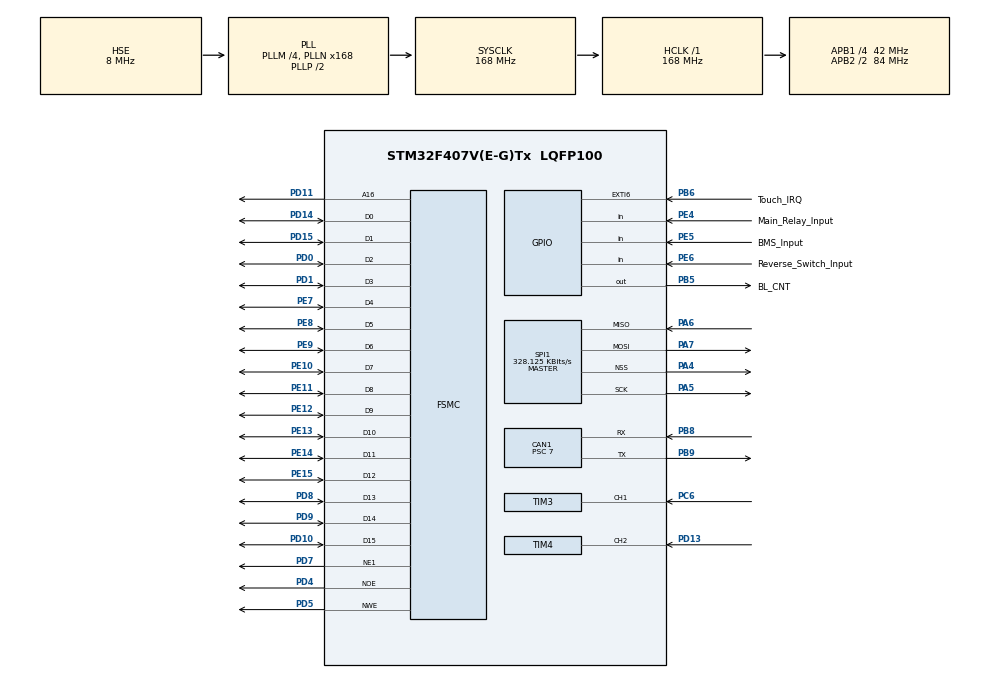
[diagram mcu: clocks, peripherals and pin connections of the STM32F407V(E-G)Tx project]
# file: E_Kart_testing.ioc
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CAN1.ABOM=ENABLE
CAN1.AWUM=ENABLE
CAN1.BS1=CAN_BS1_8TQ
CAN1.BS2=CAN_BS2_3TQ
CAN1.CalculateBaudRate=500000
CAN1.CalculateTimeBit=1999.99
CAN1.CalculateTimeQuantum=166.66666666666669
CAN1.NART=ENABLE
CAN1.Prescaler=7
FSMC.AddressSetupTime1=2
FSMC.BusTurnAroundDuration1=0
FSMC.DataSetupTime1=5
FSMC.ExtendedAddressSetupTime1=2
FSMC.ExtendedBusTurnAroundDuration1=3
FSMC.ExtendedDataSetupTime1=3
FSMC.ExtendedMode1=FSMC_EXTENDED_MODE_ENABLE
FSMC.MemoryType1=FSMC_MEMORY_TYPE_SRAM
Mcu.Family=STM32F4
Mcu.Name=STM32F407V(E-G)Tx
Mcu.Package=LQFP100
NVIC.CAN1_RX0_IRQn=true\:0\:0\:false\:false\:true\:true\:true
NVIC.EXTI9_5_IRQn=true\:0\:0\:false\:false\:true\:true\:true
NVIC.PriorityGroup=NVIC_PRIORITYGROUP_4
NVIC.SPI1_IRQn=true\:0\:0\:false\:false\:true\:true\:true
NVIC.TIM1_BRK_TIM9_IRQn=true\:0\:0\:false\:false\:true\:true\:true
NVIC.TIM1_UP_TIM10_IRQn=true\:0\:0\:false\:false\:true\:true\:true
NVIC.TIM2_IRQn=true\:0\:0\:false\:false\:true\:true\:true
NVIC.TIM3_IRQn=true\:0\:0\:false\:false\:true\:true\:true
NVIC.TIM4_IRQn=true\:0\:0\:false\:false\:true\:true\:true
PA13.Mode=Serial_Wire
PA13.Signal=SYS_JTMS-SWDIO
PA14.Mode=Serial_Wire
PA14.Signal=SYS_JTCK-SWCLK
PA4.Mode=NSS_Signal_Hard_Output
PA4.Signal=SPI1_NSS
PA5.Mode=Full_Duplex_Master
PA5.Signal=SPI1_SCK
PA6.Mode=Full_Duplex_Master
PA6.Signal=SPI1_MISO
PA7.Mode=Full_Duplex_Master
PA7.Signal=SPI1_MOSI
PB5.GPIO_Label=BL_CNT
PB5.Signal=GPIO_Output
PB6.GPIO_Label=Touch_IRQ
PB6.GPIO_ModeDefaultEXTI=GPIO_MODE_IT_FALLING
PB6.GPIO_PuPd=GPIO_PULLUP
PB6.Signal=GPXTI6
PB8.Mode=CAN_Activate
PB8.Signal=CAN1_RX
PB9.Mode=CAN_Activate
PB9.Signal=CAN1_TX
PC6.Signal=S_TIM3_CH1
PD0.Mode=16b-d1
PD0.Signal=FSMC_D2
PD1.Mode=16b-d1
PD1.Signal=FSMC_D3
PD10.Mode=16b-d1
PD10.Signal=FSMC_D15
PD11.Mode=A16_1
PD11.Signal=FSMC_A16
PD13.Signal=S_TIM4_CH2
PD14.Mode=16b-d1
PD14.Signal=FSMC_D0
PD15.Mode=16b-d1
PD15.Signal=FSMC_D1
PD4.Mode=Lcd1
PD4.Signal=FSMC_NOE
PD5.Mode=Lcd1
PD5.Signal=FSMC_NWE
PD7.Mode=NorPsramChipSelect1_1
PD7.Signal=FSMC_NE1
PD8.Mode=16b-d1
PD8.Signal=FSMC_D13
PD9.Mode=16b-d1
PD9.Signal=FSMC_D14
PE10.Mode=16b-d1
PE10.Signal=FSMC_D7
PE11.Mode=16b-d1
PE11.Signal=FSMC_D8
PE12.Mode=16b-d1
PE12.Signal=FSMC_D9
PE13.Mode=16b-d1
PE13.Signal=FSMC_D10
PE14.Mode=16b-d1
PE14.Signal=FSMC_D11
PE15.Mode=16b-d1
PE15.Signal=FSMC_D12
PE4.GPIO_Label=Main_Relay_Input
PE4.Signal=GPIO_Input
PE5.GPIO_Label=BMS_Input
PE5.Signal=GPIO_Input
PE6.GPIO_Label=Reverse_Switch_Input
PE6.Signal=GPIO_Input
PE7.Mode=16b-d1
PE7.Signal=FSMC_D4
PE8.Mode=16b-d1
PE8.Signal=FSMC_D5
PE9.Mode=16b-d1
PE9.Signal=FSMC_D6
PH0-OSC_IN.Mode=HSE-External-Oscillator
PH0-OSC_IN.Signal=RCC_OSC_IN
PH1-OSC_OUT.Mode=HSE-External-Oscillator
PH1-OSC_OUT.Signal=RCC_OSC_OUT
ProjectManager.HeapSize=0x200
ProjectManager.StackSize=0x400
ProjectManager.TargetToolchain=STM32CubeIDE
RCC.48MHZClocksFreq_Value=48000000
RCC.AHBFreq_Value=168000000
RCC.APB1CLKDivider=RCC_HCLK_DIV4
RCC.APB1Freq_Value=42000000
RCC.APB1TimFreq_Value=84000000
RCC.APB2CLKDivider=RCC_HCLK_DIV2
RCC.APB2Freq_Value=84000000
RCC.APB2TimFreq_Value=168000000
RCC.CortexFreq_Value=168000000
RCC.HCLKFreq_Value=168000000
RCC.HSE_VALUE=8000000
RCC.HSI_VALUE=16000000
RCC.LSE_VALUE=32768
RCC.PLLM=4
RCC.PLLN=168
RCC.PLLQ=7
RCC.PLLSourceVirtual=RCC_PLLSOURCE_HSE
RCC.SYSCLKFreq_VALUE=168000000
RCC.SYSCLKSource=RCC_SYSCLKSOURCE_PLLCLK
RCC.VCOOutputFreq_Value=336000000
SH.S_TIM3_CH1.0=TIM3_CH1,PWM_Input_1
SH.S_TIM4_CH2.0=TIM4_CH2,PWM_Input_2
SPI1.BaudRatePrescaler=SPI_BAUDRATEPRESCALER_256
SPI1.CalculateBaudRate=328.125 KBits/s
SPI1.Direction=SPI_DIRECTION_2LINES
SPI1.Mode=SPI_MODE_MASTER
SPI1.VirtualNSS=VM_NSSHARD
SPI1.VirtualType=VM_MASTER
TIM1.Channel-Output\ Compare1\ No\ Output=TIM_CHANNEL_1
TIM2.CounterMode=TIM_COUNTERMODE_DOWN
TIM2.Period=39999
TIM2.Prescaler=1
TIM3.Period=0xffff
TIM3.Prescaler=1
TIM4.ICPolarity_1=TIM_INPUTCHANNELPOLARITY_RISING
TIM4.Period=0xffff
TIM4.Prescaler=1
VP_TIM1_VS_ClockSourceINT.Mode=Internal
VP_TIM1_VS_no_output1.Mode=Output Compare1 No Output
VP_TIM2_VS_ClockSourceINT.Mode=Internal
VP_TIM3_VS_ClockSourceINT.Mode=Internal
VP_TIM4_VS_ClockSourceINT.Mode=Internal
board=E-Kart

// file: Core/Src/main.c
/* USER CODE BEGIN Header */
/**
  ******************************************************************************
  * @file           : main.c
  * @brief          : Main program body
  ******************************************************************************
  * @attention
  *
  * <h2><center>&copy; Copyright (c) 2019 STMicroelectronics.
  * All rights reserved.</center></h2>
  *
  * This software component is licensed by ST under BSD 3-Clause license,
  * the "License"; You may not use this file except in compliance with the
  * License. You may obtain a copy of the License at:
  *                        opensource.org/licenses/BSD-3-Clause
  *
  ******************************************************************************
  */
/* USER CODE END Header */
#include "main.h"
#include "can.h"
#include "spi.h"
#include "tim.h"
#include "gpio.h"
#include "fsmc.h"

/* USER CODE BEGIN Includes */

#include "hmi.h"
#include "control.h"
#include "flash.h"

/* USER CODE END Includes */

/* USER CODE BEGIN PTD */

CAN_FilterTypeDef		sFilterConfig;

/* USER CODE END PTD */

/* USER CODE BEGIN PV */

uint8_t menuebene=1;

/* USER CODE END PV */

void SystemClock_Config(void);

int main(void)
{

  /* MCU Configuration--------------------------------------------------------*/

  /* Reset of all peripherals, Initializes the Flash interface and the Systick. */
  HAL_Init();

  /* Configure the system clock */
  SystemClock_Config();

  /* Initialize all configured peripherals */
  MX_GPIO_Init();
  MX_TIM1_Init();
  MX_TIM2_Init();
  MX_TIM4_Init();
  MX_CAN1_Init();
  MX_SPI1_Init();
  MX_FSMC_Init();
  MX_TIM3_Init();
  /* USER CODE BEGIN 2 */

//  flash_init();
//  TransferListElements(1);
  LoadfromFlash();

  sFilterConfig.FilterBank = 0;
  sFilterConfig.FilterMode = CAN_FILTERMODE_IDMASK;
  sFilterConfig.FilterScale = CAN_FILTERSCALE_32BIT;
  sFilterConfig.FilterIdHigh = 0xFFFF;
  sFilterConfig.FilterIdLow = 0x0000;
  sFilterConfig.FilterMaskIdHigh = 0x0000;
  sFilterConfig.FilterMaskIdLow = 0x0000;
  sFilterConfig.FilterFIFOAssignment = CAN_RX_FIFO0;
  sFilterConfig.FilterActivation = ENABLE;
  sFilterConfig.SlaveStartFilterBank = 14;

  // CAN Eingangsfilter konfigurieren
  if(HAL_CAN_ConfigFilter(&hcan1, &sFilterConfig) != HAL_OK)
  {
	  /* Filter configuration Error */
	  Error_Handler();
  }

    // Start der CAN Kommunikation
    if (HAL_CAN_Start(&hcan1) != HAL_OK)
    {
        /* Start Error */
//        _Error_Handler(__FILE__, __LINE__);
    }

    HAL_CAN_ActivateNotification(&hcan1, CAN_IT_RX_FIFO0_MSG_PENDING);	// Interrupt f�r CAN Rx aktiviren

    HAL_TIM_Base_Start(&htim3);
    HAL_TIM_IC_Start(&htim3,TIM_CHANNEL_1);
    HAL_TIM_IC_Start_IT(&htim3,TIM_CHANNEL_2);

    HAL_TIM_Base_Start(&htim4);
    HAL_TIM_IC_Start(&htim4,TIM_CHANNEL_1);
    HAL_TIM_IC_Start_IT(&htim4,TIM_CHANNEL_2);

    LCD_Init();
    XPT2046_Init();
    Menustruktur();
    Anzeige_Init(menuebene);
    Motor_Init();

//    HAL_TIM_Base_Start_IT(&htim2);

  /* USER CODE END 2 */

  /* Infinite loop */
  while (1)
  {

    /* USER CODE BEGIN 3 */
	  menuebene=TouchAction(menuebene);
	  Anzeige(menuebene);

  }
  /* USER CODE END 3 */
}

void SystemClock_Config(void)
{
  RCC_OscInitTypeDef RCC_OscInitStruct = {0};
  RCC_ClkInitTypeDef RCC_ClkInitStruct = {0};

  /** Configure the main internal regulator output voltage
  */
  __HAL_RCC_PWR_CLK_ENABLE();
  __HAL_PWR_VOLTAGESCALING_CONFIG(PWR_REGULATOR_VOLTAGE_SCALE1);
  /** Initializes the RCC Oscillators according to the specified parameters
  * in the RCC_OscInitTypeDef structure.
  */
  RCC_OscInitStruct.OscillatorType = RCC_OSCILLATORTYPE_HSE;
  RCC_OscInitStruct.HSEState = RCC_HSE_ON;
  RCC_OscInitStruct.PLL.PLLState = RCC_PLL_ON;
  RCC_OscInitStruct.PLL.PLLSource = RCC_PLLSOURCE_HSE;
  RCC_OscInitStruct.PLL.PLLM = 4;
  RCC_OscInitStruct.PLL.PLLN = 168;
  RCC_OscInitStruct.PLL.PLLP = RCC_PLLP_DIV2;
  RCC_OscInitStruct.PLL.PLLQ = 7;
  if (HAL_RCC_OscConfig(&RCC_OscInitStruct) != HAL_OK)
  {
    Error_Handler();
  }
  /** Initializes the CPU, AHB and APB buses clocks
  */
  RCC_ClkInitStruct.ClockType = RCC_CLOCKTYPE_HCLK|RCC_CLOCKTYPE_SYSCLK
                              |RCC_CLOCKTYPE_PCLK1|RCC_CLOCKTYPE_PCLK2;
  RCC_ClkInitStruct.SYSCLKSource = RCC_SYSCLKSOURCE_PLLCLK;
  RCC_ClkInitStruct.AHBCLKDivider = RCC_SYSCLK_DIV1;
  RCC_ClkInitStruct.APB1CLKDivider = RCC_HCLK_DIV4;
  RCC_ClkInitStruct.APB2CLKDivider = RCC_HCLK_DIV2;

  if (HAL_RCC_ClockConfig(&RCC_ClkInitStruct, FLASH_LATENCY_5) != HAL_OK)
  {
    Error_Handler();
  }
}

void Error_Handler(void)
{
}

/************************ (C) COPYRIGHT STMicroelectronics *****END OF FILE****/
